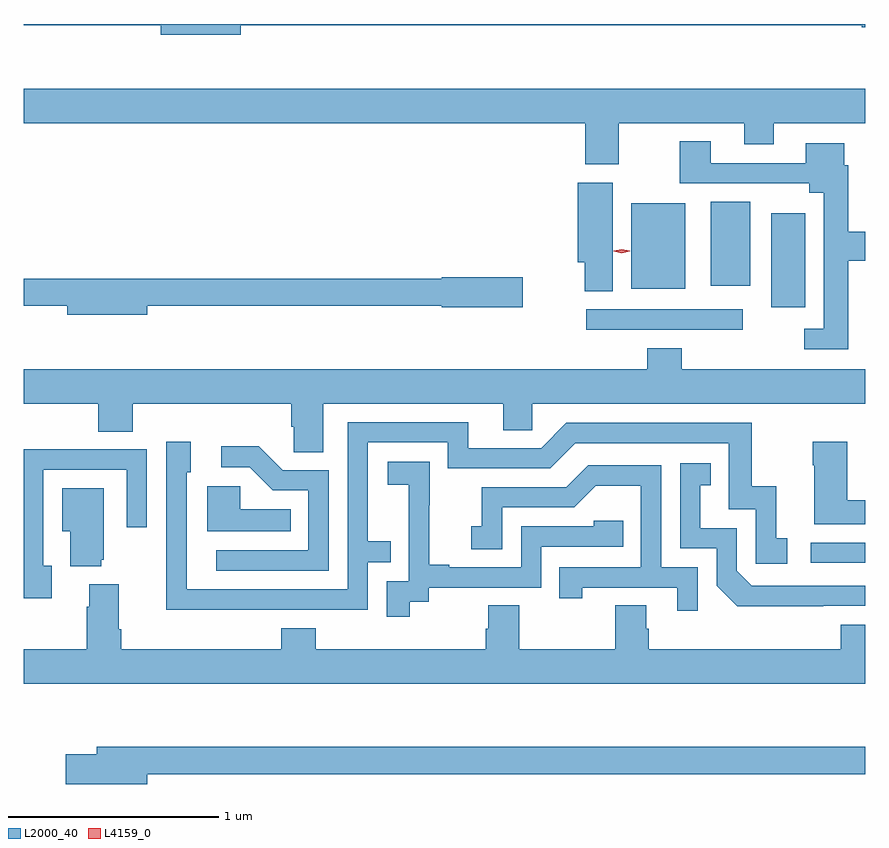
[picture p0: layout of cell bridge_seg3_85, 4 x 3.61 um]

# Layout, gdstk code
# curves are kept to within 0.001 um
import gdstk
lib = gdstk.Library(unit=1e-6, precision=1e-09)
def R(c, l, rs):  # rectangles x0, y0, x1, y1
    for r in rs: c.add(gdstk.rectangle(r[:2], r[2:], *l))
def P(c, l, *ps):  # polygons
    for p in ps: c.add(gdstk.Polygon(p, *l))
L2000_40 = (2000, 40)
L4159_0 = (4159, 0)

bridge_seg3_85 = lib.new_cell('bridge_seg3_85')
R(bridge_seg3_85, L2000_40, [(459.921,682.842,460.18,682.938), (458.853,683.952,459.598,684.048), (459.734,684.057,459.895,684.505), (459.068,684.146,459.325,684.553), (459.446,684.161,459.634,684.559)])
P(bridge_seg3_85, L2000_40, [(457.21,685.398),(460.164,685.398),(460.164,685.39),(460.18,685.39),(460.18,685.405),(456.18,685.405),(456.18,685.398),(456.83,685.398),(456.83,685.355),(457.21,685.355)],
  [(459.009,684.932),(459.605,684.932),(459.605,684.833),(459.745,684.833),(459.745,684.932),(460.18,684.932),(460.18,685.096),(456.18,685.096),(456.18,684.932),(458.849,684.932),(458.849,684.738),(459.009,684.738)],
  [(460.1,684.28),(460.18,684.28),(460.18,684.416),(460.1,684.416),(460.1,684.734),(460.081,684.734),(460.081,684.838),(459.899,684.838),(459.899,684.744),(459.445,684.744),(459.445,684.847),(459.298,684.847),(459.298,684.648),(459.914,684.648),(459.914,684.602),(459.984,684.602),(459.984,683.955),(459.891,683.955),(459.891,683.859),(460.1,683.859)],
  [(458.98,684.649),(458.813,684.649),(458.813,684.273),(458.846,684.273),(458.846,684.133),(458.98,684.133)],
  [(456.766,684.066),(458.166,684.066),(458.166,684.058),(458.551,684.058),(458.551,684.2),(458.166,684.2),(458.166,684.194),(456.18,684.194),(456.18,684.066),(456.386,684.066),(456.386,684.023),(456.766,684.023)],
  [(457.603,683.6),(458.459,683.6),(458.459,683.473),(458.598,683.473),(458.598,683.6),(460.18,683.6),(460.18,683.764),(459.308,683.764),(459.308,683.863),(459.143,683.863),(459.143,683.764),(456.18,683.764),(456.18,683.6),(456.533,683.6),(456.533,683.467),(456.698,683.467),(456.698,683.6),(457.451,683.6),(457.451,683.491),(457.464,683.491),(457.464,683.368),(457.603,683.368)],
  [(457.319,682.62),(457.815,682.62),(457.815,682.845),(457.925,682.845),(457.925,682.946),(457.815,682.946),(457.815,683.415),(458.196,683.415),(458.196,683.292),(458.682,683.292),(458.802,683.412),(459.531,683.412),(459.531,683.097),(459.66,683.097),(459.66,682.839),(459.811,682.839),(459.811,682.959),(459.758,682.959),(459.758,683.206),(459.64,683.206),(459.64,683.508),(458.76,683.508),(458.64,683.388),(458.293,683.388),(458.293,683.511),(457.719,683.511),(457.719,682.716),(456.955,682.716),(456.954,683.274),(456.973,683.274),(456.973,683.419),(456.858,683.419),(456.858,682.925),(456.856,682.925),(456.856,682.619)],
  [(460.18,683.141),(460.096,683.141),(460.096,683.419),(459.931,683.419),(459.931,683.306),(459.938,683.306),(459.938,683.027),(460.18,683.027)],
  [(457.629,683.283),(457.41,683.283),(457.297,683.396),(457.119,683.396),(457.119,683.298),(457.253,683.298),(457.364,683.187),(457.533,683.187),(457.533,682.902),(457.095,682.902),(457.095,682.806),(457.629,682.806)],
  [(456.313,682.83),(456.273,682.83),(456.273,683.286),(456.669,683.286),(456.669,683.013),(456.765,683.013),(456.765,683.382),(456.449,683.382),(456.449,683.384),(456.18,683.384),(456.18,682.674),(456.313,682.674)],
  [(458.014,682.657),(458.106,682.657),(458.106,682.725),(458.64,682.725),(458.64,682.92),(459.029,682.92),(459.029,683.043),(458.889,683.043),(458.889,683.016),(458.544,683.016),(458.544,682.821),(458.203,682.821),(458.203,682.834),(458.108,682.834),(458.108,683.117),(458.109,683.117),(458.109,683.323),(457.911,683.323),(457.911,683.213),(458.009,683.213),(458.009,682.985),(458.01,682.985),(458.01,682.755),(457.905,682.755),(457.905,682.587),(458.014,682.587)],
  [(459.98,682.638),(460.18,682.638),(460.18,682.734),(459.642,682.734),(459.57,682.806),(459.57,683.007),(459.397,683.007),(459.397,683.211),(459.446,683.211),(459.446,683.317),(459.3,683.317),(459.3,682.911),(459.474,682.911),(459.474,682.734),(459.572,682.637)],
  [(459.384,682.821),(459.21,682.821),(459.21,683.307),(458.864,683.307),(458.759,683.202),(458.356,683.202),(458.356,683.017),(458.307,683.017),(458.307,682.908),(458.454,682.908),(458.454,683.106),(458.796,683.106),(458.9,683.21),(459.114,683.21),(459.114,682.821),(458.725,682.821),(458.725,682.674),(458.836,682.674),(458.836,682.725),(459.287,682.725),(459.287,682.614),(459.384,682.614)],
  [(457.448,683.098),(457.209,683.098),(457.209,683.206),(457.052,683.206),(457.052,682.994),(457.448,682.994)],
  [(456.548,682.857),(456.559,682.857),(456.559,683.197),(456.362,683.197),(456.362,682.994),(456.401,682.994),(456.401,682.826),(456.548,682.826)],
  [(460.18,682.549),(460.064,682.549),(460.064,682.432),(459.152,682.432),(459.152,682.53),(459.139,682.53),(459.139,682.64),(458.992,682.64),(458.992,682.432),(458.535,682.432),(458.535,682.64),(458.387,682.64),(458.387,682.53),(458.375,682.53),(458.375,682.432),(457.568,682.432),(457.568,682.531),(457.403,682.531),(457.403,682.432),(456.644,682.432),(456.644,682.528),(456.631,682.528),(456.631,682.741),(456.491,682.741),(456.491,682.634),(456.479,682.634),(456.479,682.432),(456.18,682.432),(456.18,682.268),(460.18,682.268)],
  [(456.766,681.838),(460.18,681.838),(460.18,681.967),(456.527,681.967),(456.527,681.933),(456.378,681.933),(456.378,681.791),(456.766,681.791)])
P(bridge_seg3_85, L4159_0, [(459.023,684.316),(458.985,684.325),(458.985,684.325),(458.985,684.326),(459.023,684.335),(459.061,684.326),(459.061,684.326),(459.061,684.325)])

lib.write_gds('bridge_seg3_85.gds')
